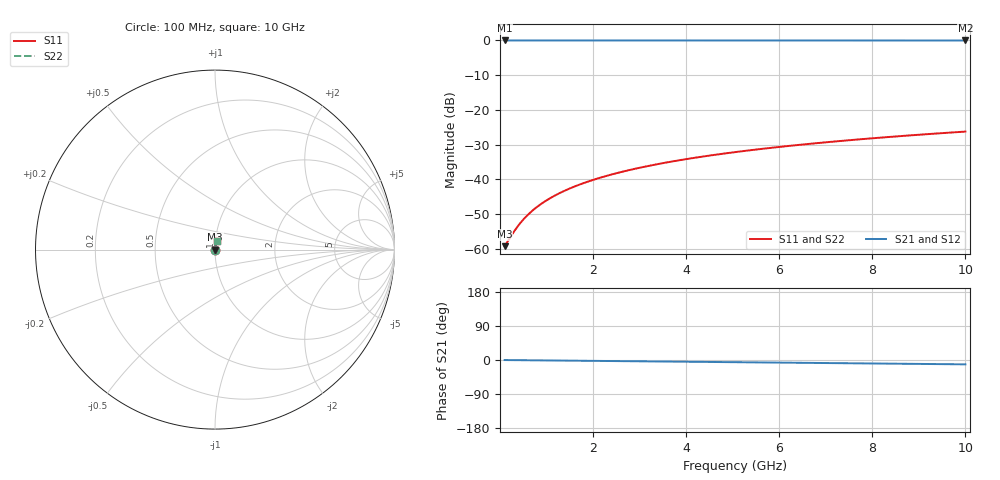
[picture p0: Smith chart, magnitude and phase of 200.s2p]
# Hz S RI R 50.00
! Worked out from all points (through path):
!   100 points, 100 MHz to 10 GHz, reference 50 ohm
!   highest |S21| = -0.01 dB at 100 MHz (marker M1); lowest = 0.0 dB at 10 GHz (marker M2)
!   group delay of S21, straight-line fit = 3.19 ps
!   lowest |S11| = -59.2 dB at 100 MHz (marker M3), VSWR 1.00, Z = 50.1 + j0.0489 ohm
!   |S11| at or under -10 dB: start of sweep to end of sweep
!   |S22| runs from -59.2 to -26.2 dB; largest |S21 - S12| = 0
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1e8  0.000984 0.000488  0.999 -0.00199  0.999 -0.00199  0.000984 0.000488
3e8  0.001 0.00146  0.999 -0.00598  0.999 -0.00598  0.001 0.00146
4e8  0.00101 0.00195  0.999 -0.00797  0.999 -0.00797  0.00101 0.00195
5e8  0.00102 0.00244  0.9989 -0.00996  0.9989 -0.00996  0.00102 0.00244
6e8  0.00104 0.00293  0.9989 -0.012  0.9989 -0.012  0.00104 0.00293
7e8  0.00105 0.00342  0.9989 -0.0139  0.9989 -0.0139  0.00105 0.00342
8e8  0.00107 0.00391  0.9988 -0.0159  0.9988 -0.0159  0.00107 0.00391
1e9  0.00111 0.00488  0.9988 -0.0199  0.9988 -0.0199  0.00111 0.00488
1.2e9  0.00115 0.00586  0.9987 -0.0239  0.9987 -0.0239  0.00115 0.00586
1.5e9  0.00123 0.00732  0.9985 -0.0299  0.9985 -0.0299  0.00123 0.00732
1.8e9  0.00133 0.00878  0.9983 -0.0359  0.9983 -0.0359  0.00133 0.00878
2.1e9  0.00145 0.0102  0.998 -0.0418  0.998 -0.0418  0.00145 0.0102
2.5e9  0.00163 0.0122  0.9976 -0.0498  0.9976 -0.0498  0.00163 0.0122
2.9e9  0.00184 0.0141  0.9972 -0.0578  0.9972 -0.0578  0.00184 0.0141
3.4e9  0.00215 0.0165  0.9965 -0.0677  0.9965 -0.0677  0.00215 0.0165
4.2e9  0.00275 0.0204  0.9952 -0.0836  0.9952 -0.0836  0.00275 0.0204
5.1e9  0.00357 0.0247  0.9934 -0.1015  0.9934 -0.1015  0.00357 0.0247
5.9e9  0.00442 0.0285  0.9915 -0.1174  0.9915 -0.1174  0.00442 0.0285
6.7e9  0.0054 0.0323  0.9894 -0.1333  0.9894 -0.1333  0.0054 0.0323
7.5e9  0.00651 0.0361  0.987 -0.1492  0.987 -0.1492  0.00651 0.0361
8.4e9  0.00789 0.0403  0.9839 -0.167  0.9839 -0.167  0.00789 0.0403
1e10  0.0107 0.0476  0.9777 -0.1985  0.9777 -0.1985  0.0107 0.0476
